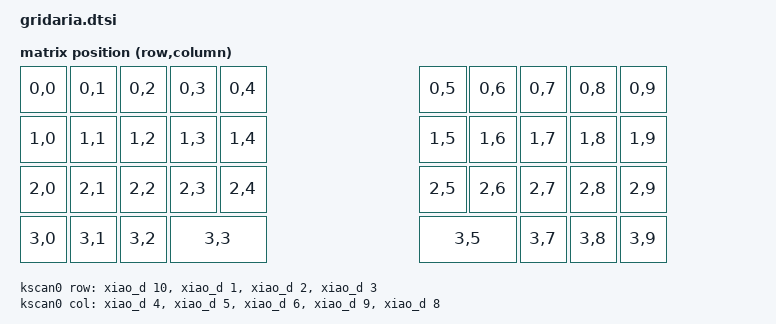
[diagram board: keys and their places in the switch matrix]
#include <dt-bindings/zmk/matrix_transform.h>
#include <zephyr/dt-bindings/gpio/gpio.h>
#include <dt-bindings/led/led.h>
#include <zephyr/dt-bindings/adc/adc.h>
#include <zephyr/dt-bindings/adc/nrf-saadc.h>
#include <zephyr/dt-bindings/input/input-event-codes.h>
#include <physical_layouts.dtsi>

/ {
  chosen {
    zmk,kscan = &kscan0;
    transform = <&default_transform>;
    zmk,physical-layout = &gridaria_default_layout;
    zmk,underglow = &led_strip;
  };

  kscan0: kscan {
    compatible = "zmk,kscan-gpio-duplex";
    row-gpios = <&xiao_d 10 GPIO_ACTIVE_LOW>,
                <&xiao_d 1 GPIO_ACTIVE_LOW>,
                <&xiao_d 2 GPIO_ACTIVE_LOW>,
                <&xiao_d 3 GPIO_ACTIVE_LOW>;
    col-gpios = <&xiao_d 4 GPIO_ACTIVE_LOW>,
                <&xiao_d 5 GPIO_ACTIVE_LOW>,
                <&xiao_d 6 GPIO_ACTIVE_LOW>,
                <&xiao_d 9 GPIO_ACTIVE_LOW>,
                <&xiao_d 8 GPIO_ACTIVE_LOW>;
    debounce-press-ms = <5>;
    debounce-release-ms = <5>;
    poll-period-ms = <1>;
  };

  default_transform: matrix_transform {
    compatible = "zmk,matrix-transform";
    rows = <4>;
    columns = <10>;
    map = <
      RC(0,0) RC(0,1) RC(0,2) RC(0,3) RC(0,4) RC(0,5) RC(0,6) RC(0,7) RC(0,8) RC(0,9)
      RC(1,0) RC(1,1) RC(1,2) RC(1,3) RC(1,4) RC(1,5) RC(1,6) RC(1,7) RC(1,8) RC(1,9)
      RC(2,0) RC(2,1) RC(2,2) RC(2,3) RC(2,4) RC(2,5) RC(2,6) RC(2,7) RC(2,8) RC(2,9)
      RC(3,0) RC(3,1) RC(3,2) RC(3,3) RC(3,5) RC(3,7) RC(3,8) RC(3,9)
    >;
  };

  gridaria_default_layout: gridaria_default_layout {
    compatible = "zmk,physical-layout";
    display-name = "Gridaria";
    transform = <&default_transform>;
    kscan = <&kscan0>;
    keys
      = <&key_physical_attrs 100 100    0   0 0 0 0>
      , <&key_physical_attrs 100 100  100   0 0 0 0>
      , <&key_physical_attrs 100 100  200   0 0 0 0>
      , <&key_physical_attrs 100 100  300   0 0 0 0>
      , <&key_physical_attrs 100 100  400   0 0 0 0>
      , <&key_physical_attrs 100 100  800   0 0 0 0>
      , <&key_physical_attrs 100 100  900   0 0 0 0>
      , <&key_physical_attrs 100 100 1000   0 0 0 0>
      , <&key_physical_attrs 100 100 1100   0 0 0 0>
      , <&key_physical_attrs 100 100 1200   0 0 0 0>
      , <&key_physical_attrs 100 100    0 100 0 0 0>
      , <&key_physical_attrs 100 100  100 100 0 0 0>
      , <&key_physical_attrs 100 100  200 100 0 0 0>
      , <&key_physical_attrs 100 100  300 100 0 0 0>
      , <&key_physical_attrs 100 100  400 100 0 0 0>
      , <&key_physical_attrs 100 100  800 100 0 0 0>
      , <&key_physical_attrs 100 100  900 100 0 0 0>
      , <&key_physical_attrs 100 100 1000 100 0 0 0>
      , <&key_physical_attrs 100 100 1100 100 0 0 0>
      , <&key_physical_attrs 100 100 1200 100 0 0 0>
      , <&key_physical_attrs 100 100    0 200 0 0 0>
      , <&key_physical_attrs 100 100  100 200 0 0 0>
      , <&key_physical_attrs 100 100  200 200 0 0 0>
      , <&key_physical_attrs 100 100  300 200 0 0 0>
      , <&key_physical_attrs 100 100  400 200 0 0 0>
      , <&key_physical_attrs 100 100  800 200 0 0 0>
      , <&key_physical_attrs 100 100  900 200 0 0 0>
      , <&key_physical_attrs 100 100 1000 200 0 0 0>
      , <&key_physical_attrs 100 100 1100 200 0 0 0>
      , <&key_physical_attrs 100 100 1200 200 0 0 0>
      , <&key_physical_attrs 100 100    0 300 0 0 0>
      , <&key_physical_attrs 100 100  100 300 0 0 0>
      , <&key_physical_attrs 100 100  200 300 0 0 0>
      , <&key_physical_attrs 200 100  300 300 0 0 0>
      , <&key_physical_attrs 200 100  800 300 0 0 0>
      , <&key_physical_attrs 100 100 1000 300 0 0 0>
      , <&key_physical_attrs 100 100 1100 300 0 0 0>
      , <&key_physical_attrs 100 100 1200 300 0 0 0>
      ;
  };

  fader: analog_axis_hires {
    compatible = "analog-axis-hires";
    status = "okay";
    poll-period-ms = <8>;

    axis-x {
      io-channels = <&adc 0>;
      in-min = <0>;
      in-max = <4095>;
      /* Keep zero positions observable; the driver suppresses unchanged zero values. */
      out-min = <1>;
      out-max = <1024>;
      zephyr,axis-type = <INPUT_EV_ABS>;
      zephyr,axis = <INPUT_ABS_X>;
    };
  };
};

&adc {
  status = "okay";

  #address-cells = <1>;
  #size-cells = <0>;

  channel@0 {
    reg = <0>;
    zephyr,resolution = <12>;
    zephyr,gain = "ADC_GAIN_1_4";
    zephyr,reference = "ADC_REF_VDD_1_4";
    zephyr,acquisition-time = <ADC_ACQ_TIME_DEFAULT>;
    zephyr,input-positive = <NRF_SAADC_AIN0>;
  };
};

&uicr {
  nfct-pins-as-gpios;
};

&pinctrl {
    spi3_default: spi3_default {
        group1 {
            psels = <NRF_PSEL(SPIM_MOSI, 1, 12)>;
        };
    };

    spi3_sleep: spi3_sleep {
        group1 {
            psels = <NRF_PSEL(SPIM_MOSI, 1, 12)>;
            low-power-enable;
        };
    };
};

&spi3 {
    compatible = "nordic,nrf-spim";
    status = "okay";

    pinctrl-0 = <&spi3_default>;
    pinctrl-1 = <&spi3_sleep>;
    pinctrl-names = "default", "sleep";

    led_strip: ws2812@0 {
        compatible = "worldsemi,ws2812-spi";

        reg = <0>;
        spi-max-frequency = <4000000>;
        chain-length = <7>;
        spi-one-frame = <0x70>;
        spi-zero-frame = <0x40>;
        color-mapping = <LED_COLOR_ID_GREEN
                         LED_COLOR_ID_RED
                         LED_COLOR_ID_BLUE>;
    };
};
